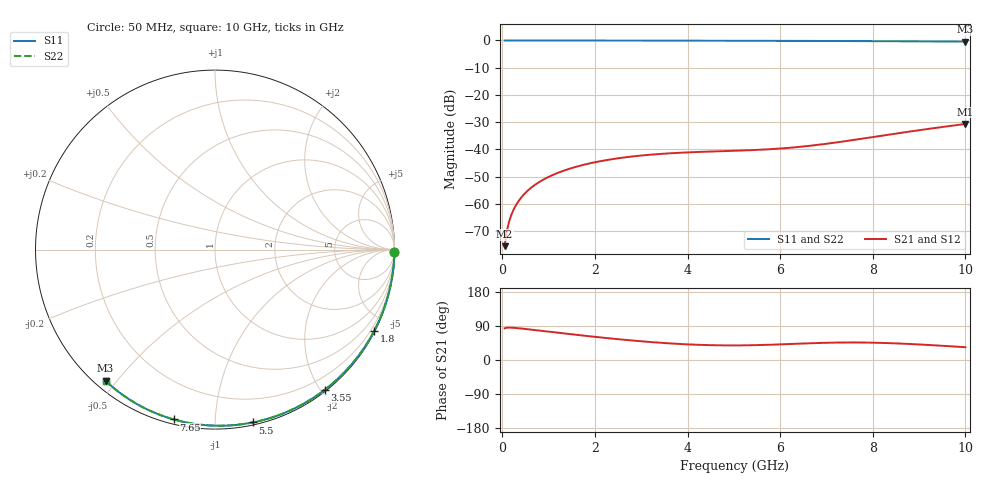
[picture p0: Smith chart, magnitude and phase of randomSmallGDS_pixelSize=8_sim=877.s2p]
! freq	dB(S11)	phase(S11)	dB(S12)	phase(S12)
!  dB(S21)	phase(S21)	dB(S22)	phase(S22)
!S-par simulation data
#  GHz  S  DB  R 50
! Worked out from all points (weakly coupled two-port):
!   200 points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, 50 MHz to 10 GHz, reference 50 ohm
!   highest |S21| = -30.65 dB at 10 GHz (marker M1); lowest = -75.5 dB at 50 MHz (marker M2)
!   lowest |S11| = -0.4 dB at 10 GHz (marker M3), VSWR 40.41, Z = 1.51 - j23.4 ohm
!   |S11| at or under -10 dB: nowhere
!   |S22| runs from -0.4 to 0.0 dB; largest |S21 - S12| = 0
!   S11 on the Smith chart (normalised r, x): 50 MHz: open; 1.8 GHz: 0.04, -4.18; 3.55 GHz: 0.02, -2.06; 5.5 GHz: 0.02, -1.24; 7.65 GHz: 0.02, -0.79; 10 GHz: 0.03, -0.47
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0.05  -0.00 -0.8  -75.52 83.5  -75.52 83.5  -0.00 -0.8
0.1  -0.00 -1.5  -69.77 85.2  -69.77 85.2  -0.00 -1.5
0.15  -0.00 -2.3  -66.30 85.5  -66.30 85.5  -0.00 -2.3
0.2  -0.00 -3.0  -63.83 85.3  -63.83 85.3  -0.00 -3.0
0.25  -0.00 -3.8  -61.91 84.9  -61.91 84.9  -0.00 -3.8
0.35  -0.00 -5.3  -59.01 83.8  -59.01 83.8  -0.00 -5.3
0.5  -0.01 -7.6  -55.94 81.8  -55.94 81.8  -0.01 -7.6
0.7  -0.01 -10.6  -53.07 79.1  -53.07 79.1  -0.01 -10.6
1  -0.02 -15.1  -50.09 74.8  -50.09 74.8  -0.02 -15.1
1.35  -0.03 -20.3  -47.66 69.9  -47.66 69.9  -0.03 -20.3
1.75  -0.03 -26.2  -45.67 64.4  -45.67 64.4  -0.03 -26.2
1.8  -0.03 -26.9  -45.46 63.7  -45.46 63.7  -0.03 -26.9
2.5  -0.05 -37.1  -43.25 54.9  -43.25 54.9  -0.05 -37.1
3.4  -0.07 -49.8  -41.67 45.6  -41.67 45.6  -0.07 -49.8
3.55  -0.07 -51.9  -41.50 44.4  -41.50 44.4  -0.07 -51.9
4.3  -0.09 -62.1  -40.89 39.8  -40.89 39.8  -0.09 -62.1
5.05  -0.11 -71.9  -40.47 38.5  -40.47 38.5  -0.11 -71.9
5.5  -0.12 -77.7  -40.17 39.3  -40.17 39.3  -0.12 -77.7
6.7  -0.18 -92.5  -38.55 44.4  -38.55 44.4  -0.18 -92.4
7.65  -0.23 -103.7  -36.37 46.3  -36.37 46.3  -0.23 -103.6
8.35  -0.28 -111.6  -34.57 44.5  -34.57 44.5  -0.28 -111.6
10  -0.43 -129.8  -30.65 33.8  -30.65 33.8  -0.43 -129.8
